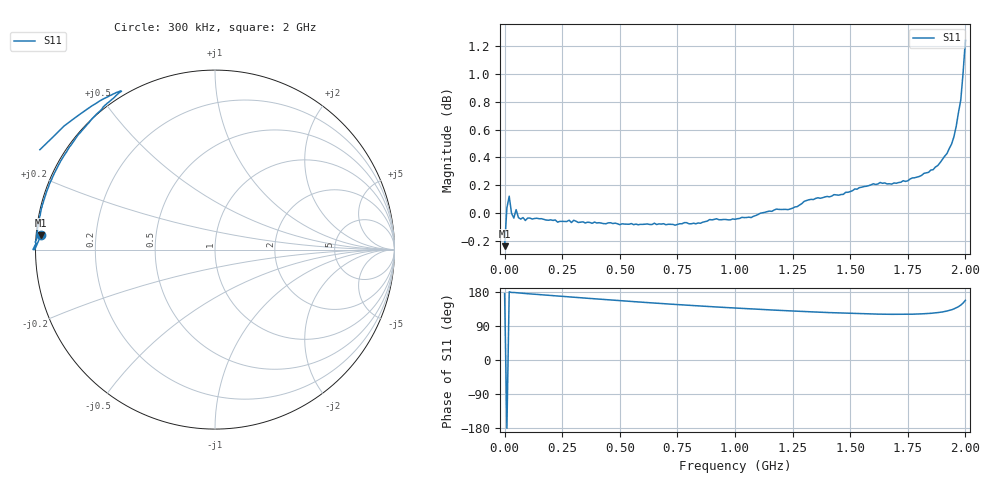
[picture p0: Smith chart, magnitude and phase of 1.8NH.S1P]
!Agilent Technologies,E5071C,MY46520295,B.13.20
!Date: Fri Feb 09 07:53:54 2024
!Data & Calibration Information:
!Freq	S11:SOLT2(ON)
!PortZ  Port1:50+j0
!Above PortZ is port z conversion or system Z0 setting when saving the data.
!When reading, reference impedance value at option line is always used.
# Hz S RI R 50
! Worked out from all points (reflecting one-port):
!   201 points, 300 kHz to 2 GHz, reference 50 ohm
!   lowest |S11| = -0.2 dB at 300 kHz (marker M1), VSWR 72.66, Z = 0.689 + j2.07 ohm
!   phase of S11 starts at 175 deg and turns -18 deg over the sweep
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300000  -0.9695 0.0802
1.02985e7  -1.004 -0.000288
2.0297e7  -1.014 7.21e-05
3.02955e7  -0.9993 0.031
4.0294e7  -0.9953 0.0316
5.02925e7  -1.002 0.0422
6.0291e7  -0.9946 0.0563
2.502625e8  -0.9712 0.2072
3.902415e8  -0.9412 0.3148
5.00225e8  -0.909 0.3931
6.502025e8  -0.8606 0.4924
7.501875e8  -0.8236 0.5504
9.20162e8  -0.761 0.6414
1.00015e9  -0.7294 0.6764
1.250112e9  -0.6365 0.7764
1.360096e9  -0.5996 0.8161
1.500075e9  -0.5569 0.8521
1.650052e9  -0.5241 0.8811
1.750038e9  -0.5246 0.883
1.810028e9  -0.5432 0.8771
1.860021e9  -0.5763 0.8616
1.900015e9  -0.6253 0.8378
1.93001e9  -0.6891 0.7987
1.950008e9  -0.7505 0.7557
1.970004e9  -0.8413 0.6883
1.980003e9  -0.8992 0.6306
1.990002e9  -0.9758 0.5565
2e9  -1.066 0.4415
